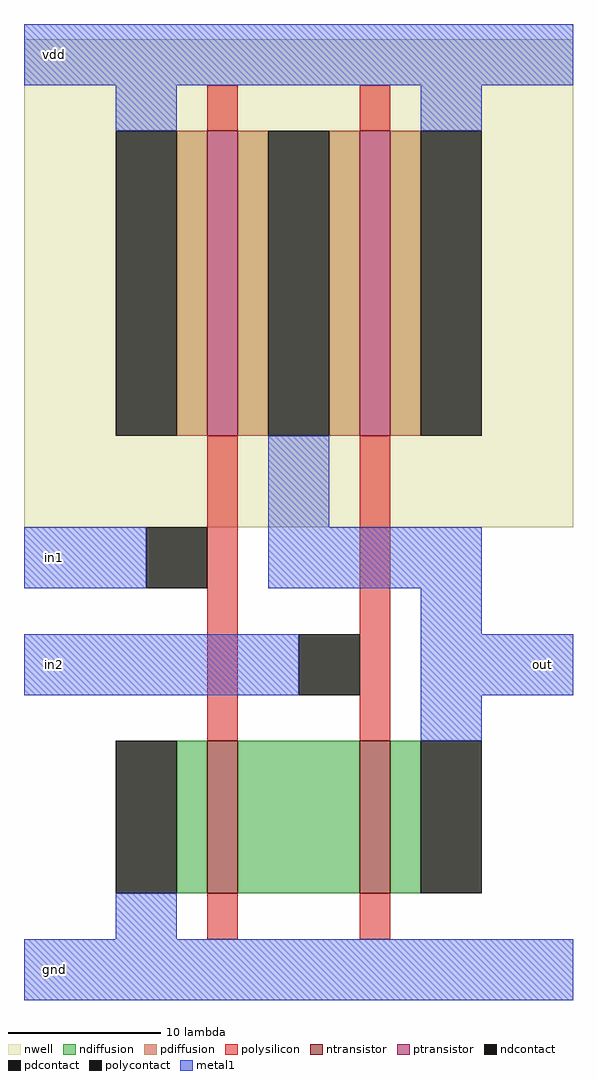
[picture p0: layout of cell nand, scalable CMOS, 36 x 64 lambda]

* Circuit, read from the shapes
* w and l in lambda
.subckt nand gnd in1 in2 out vdd
M1 n1 in1 gnd VSUBS nfet w=10 l=2
M2 out in2 n1 VSUBS nfet w=10 l=2
M3 out in1 vdd n2 pfet w=20 l=2
M4 vdd in2 out n2 pfet w=20 l=2
.ends

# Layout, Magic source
magic
tech scmos
<< nwell >>
rect -2 -2 34 30
<< ntransistor >>
rect 10 -26 12 -16
rect 20 -26 22 -16
<< ptransistor >>
rect 10 4 12 24
rect 20 4 22 24
<< ndiffusion >>
rect 8 -26 10 -16
rect 12 -26 20 -16
rect 22 -26 24 -16
<< pdiffusion >>
rect 8 4 10 24
rect 12 4 14 24
rect 18 4 20 24
rect 22 4 24 24
<< ndcontact >>
rect 4 -26 8 -16
rect 24 -26 28 -16
<< pdcontact >>
rect 4 4 8 24
rect 14 4 18 24
rect 24 4 28 24
<< polysilicon >>
rect 10 24 12 27
rect 20 24 22 27
rect 10 -16 12 4
rect 20 -16 22 4
rect 10 -29 12 -26
rect 20 -29 22 -26
<< polycontact >>
rect 6 -6 10 -2
rect 16 -13 20 -9
<< metal1 >>
rect -2 27 34 31
rect 4 24 8 27
rect 24 24 28 27
rect 14 -2 18 4
rect -2 -6 6 -2
rect 14 -6 28 -2
rect 24 -9 28 -6
rect -2 -13 16 -9
rect 24 -13 34 -9
rect 24 -16 28 -13
rect 4 -29 8 -26
rect -2 -33 34 -29
<< labels >>
rlabel metal1 -2 -33 2 -29 2 gnd
rlabel metal1 -2 -13 2 -9 3 in2
rlabel metal1 -2 -6 2 -2 3 in1
rlabel metal1 30 -13 34 -9 7 out
rlabel metal1 -2 27 2 31 4 vdd
<< end >>
